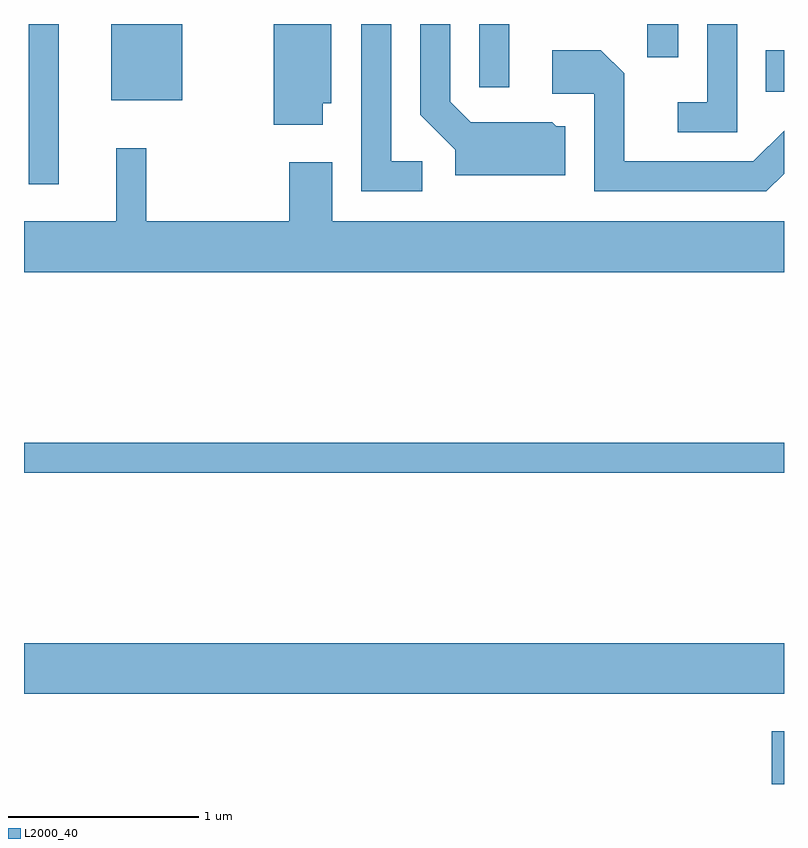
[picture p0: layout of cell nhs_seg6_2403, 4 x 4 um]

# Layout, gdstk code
import gdstk
lib = gdstk.Library(unit=1e-6, precision=1e-09)
def R(c, l, rs):  # rectangles x0, y0, x1, y1
    for r in rs: c.add(gdstk.rectangle(r[:2], r[2:], *l))
def P(c, l, *ps):  # polygons
    for p in ps: c.add(gdstk.Polygon(p, *l))
L2000_40 = (2000, 40)

nhs_seg6_2403 = lib.new_cell('nhs_seg6_2403')
R(nhs_seg6_2403, L2000_40, [(261.546,1616.162,261.611,1616.439), (257.611,1616.636,261.611,1616.904), (257.611,1617.801,261.611,1617.959), (257.636,1619.318,257.794,1620.162), (258.071,1619.761,258.444,1620.162), (261.516,1619.806,261.611,1620.024), (260.006,1619.828,260.164,1620.162), (260.891,1619.988,261.054,1620.162)])
P(nhs_seg6_2403, L2000_40, [(260.459,1619.624),(260.412,1619.624),(260.392,1619.644),(259.962,1619.644),(259.854,1619.752),(259.854,1620.162),(259.696,1620.162),(259.696,1619.684),(259.881,1619.499),(259.881,1619.366),(260.459,1619.366)],
  [(259.184,1619.746),(259.229,1619.746),(259.229,1620.162),(258.926,1620.162),(258.926,1619.631),(259.184,1619.631)],
  [(259.707,1619.439),(259.544,1619.439),(259.544,1620.162),(259.386,1620.162),(259.386,1619.281),(259.707,1619.281)],
  [(261.364,1620.162),(261.206,1620.162),(261.206,1619.749),(261.053,1619.749),(261.053,1619.591),(261.364,1619.591)],
  [(261.611,1619.375),(261.611,1619.601),(261.449,1619.439),(260.769,1619.439),(260.769,1619.902),(260.647,1620.024),(260.391,1620.024),(260.391,1619.796),(260.611,1619.796),(260.611,1619.281),(261.517,1619.281)],
  [(261.611,1619.124),(259.234,1619.124),(259.234,1619.434),(259.006,1619.434),(259.006,1619.124),(258.254,1619.124),(258.254,1619.508),(258.096,1619.508),(258.096,1619.124),(257.611,1619.124),(257.611,1618.856),(261.611,1618.856)])

lib.write_gds('nhs_seg6_2403.gds')
